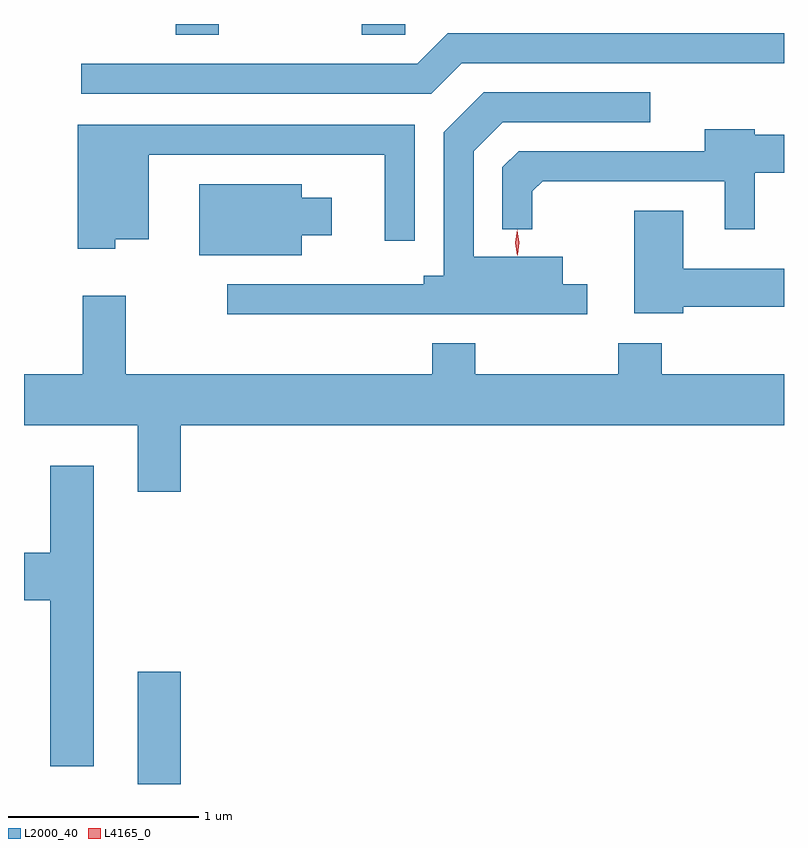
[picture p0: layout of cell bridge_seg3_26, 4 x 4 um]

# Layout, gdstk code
import gdstk
lib = gdstk.Library(unit=1e-6, precision=1e-09)
def R(c, l, rs):  # rectangles x0, y0, x1, y1
    for r in rs: c.add(gdstk.rectangle(r[:2], r[2:], *l))
def P(c, l, *ps):  # polygons
    for p in ps: c.add(gdstk.Polygon(p, *l))
L2000_40 = (2000, 40)
L4165_0 = (4165, 0)

bridge_seg3_26 = lib.new_cell('bridge_seg3_26')
R(bridge_seg3_26, L2000_40, [(1303.041,1137.448,1303.269,1138.039), (1303.241,1141.391,1303.469,1141.448), (1304.221,1141.391,1304.449,1141.448)])
P(bridge_seg3_26, L2000_40, [(1304.747,1141.241),(1306.443,1141.241),(1306.443,1141.399),(1304.674,1141.399),(1304.514,1141.239),(1302.743,1141.239),(1302.743,1141.081),(1304.587,1141.081)],
  [(1305.408,1140.079),(1305.279,1140.079),(1305.279,1140.224),(1304.809,1140.224),(1304.809,1140.779),(1304.962,1140.931),(1305.738,1140.931),(1305.738,1141.089),(1304.864,1141.089),(1304.651,1140.877),(1304.651,1140.124),(1304.546,1140.124),(1304.546,1140.079),(1303.513,1140.079),(1303.513,1139.921),(1305.408,1139.921)],
  [(1302.924,1140.316),(1303.099,1140.316),(1303.099,1140.761),(1304.341,1140.761),(1304.341,1140.308),(1304.499,1140.308),(1304.499,1140.919),(1302.726,1140.919),(1302.726,1140.266),(1302.924,1140.266)],
  [(1305.119,1140.569),(1305.172,1140.621),(1306.131,1140.621),(1306.131,1140.368),(1306.289,1140.368),(1306.289,1140.666),(1306.443,1140.666),(1306.443,1140.864),(1306.289,1140.864),(1306.289,1140.894),(1306.026,1140.894),(1306.026,1140.779),(1305.047,1140.779),(1304.961,1140.694),(1304.961,1140.368),(1305.119,1140.368)],
  [(1303.904,1140.336),(1304.064,1140.336),(1304.064,1140.534),(1303.904,1140.534),(1303.904,1140.604),(1303.366,1140.604),(1303.366,1140.231),(1303.904,1140.231)],
  [(1305.914,1139.961),(1306.443,1139.961),(1306.443,1140.159),(1305.914,1140.159),(1305.914,1140.464),(1305.656,1140.464),(1305.656,1139.926),(1305.914,1139.926)],
  [(1303.269,1139.336),(1306.443,1139.336),(1306.443,1139.604),(1305.799,1139.604),(1305.799,1139.769),(1305.571,1139.769),(1305.571,1139.604),(1304.819,1139.604),(1304.819,1139.769),(1304.591,1139.769),(1304.591,1139.604),(1302.979,1139.604),(1302.979,1140.019),(1302.751,1140.019),(1302.751,1139.604),(1302.443,1139.604),(1302.443,1139.336),(1303.041,1139.336),(1303.041,1138.986),(1303.269,1138.986)],
  [(1302.809,1139.124),(1302.581,1139.124),(1302.581,1138.664),(1302.443,1138.664),(1302.443,1138.416),(1302.581,1138.416),(1302.581,1137.541),(1302.809,1137.541)])
P(bridge_seg3_26, L4165_0, [(1305.038,1140.229),(1305.028,1140.298),(1305.038,1140.366),(1305.038,1140.366),(1305.038,1140.366),(1305.048,1140.298),(1305.04,1140.229),(1305.039,1140.229)],
  [(1305.041,1140.234),(1305.041,1140.234),(1305.031,1140.298),(1305.04,1140.362),(1305.04,1140.363),(1305.04,1140.362),(1305.05,1140.298),(1305.042,1140.234)])

lib.write_gds('bridge_seg3_26.gds')
